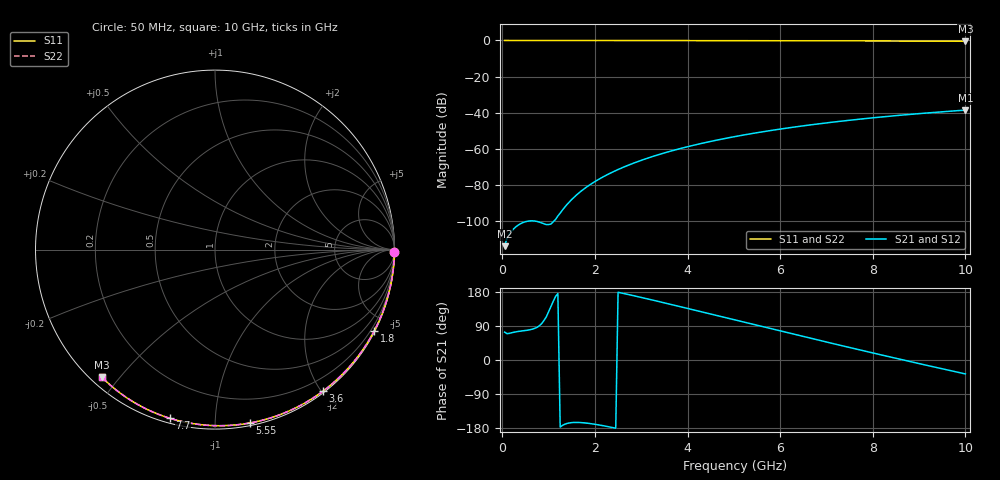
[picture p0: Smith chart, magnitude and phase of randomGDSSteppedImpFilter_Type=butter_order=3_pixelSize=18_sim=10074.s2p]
! freq	dB(S11)	phase(S11)	dB(S12)	phase(S12)
!  dB(S21)	phase(S21)	dB(S22)	phase(S22)
!S-par simulation data
#  GHz  S  DB  R 50
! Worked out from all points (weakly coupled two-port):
!   200 points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, 50 MHz to 10 GHz, reference 50 ohm
!   highest |S21| = -38.55 dB at 10 GHz (marker M1); lowest = -113.8 dB at 50 MHz (marker M2)
!   lowest |S11| = -0.4 dB at 10 GHz (marker M3), VSWR 39.09, Z = 1.54 - j22.5 ohm
!   |S11| at or under -10 dB: nowhere
!   |S22| runs from -0.4 to 0.0 dB; largest |S21 - S12| = 0
!   S11 on the Smith chart (normalised r, x): 50 MHz: open; 1.8 GHz: 0.04, -4.18; 3.6 GHz: 0.02, -2.02; 5.55 GHz: 0.02, -1.22; 7.7 GHz: 0.02, -0.77; 10 GHz: 0.03, -0.45
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0.05  -0.00 -0.8  -113.84 73.7  -113.84 73.7  -0.00 -0.8
0.9  -0.02 -13.6  -101.50 104.2  -101.50 104.2  -0.02 -13.6
1.75  -0.03 -26.2  -82.43 -165.6  -82.43 -165.6  -0.03 -26.2
1.8  -0.03 -26.9  -81.49 -166.2  -81.49 -166.2  -0.03 -26.9
1.85  -0.04 -27.7  -80.59 -167.0  -80.59 -167.0  -0.04 -27.7
1.9  -0.04 -28.4  -79.72 -167.8  -79.72 -167.8  -0.04 -28.4
2.05  -0.04 -30.6  -77.32 -170.6  -77.32 -170.6  -0.04 -30.6
2.25  -0.04 -33.5  -74.50 -175.0  -74.50 -175.0  -0.04 -33.5
2.45  -0.05 -36.4  -72.00 -180.0  -72.00 -180.0  -0.05 -36.4
2.65  -0.05 -39.3  -69.77 174.8  -69.77 174.8  -0.05 -39.3
3  -0.06 -44.2  -66.35 165.1  -66.35 165.1  -0.06 -44.2
3.4  -0.07 -49.9  -63.00 153.7  -63.00 153.7  -0.07 -49.9
3.6  -0.07 -52.7  -61.50 147.9  -61.50 147.9  -0.07 -52.7
4.3  -0.09 -62.2  -56.99 127.2  -56.99 127.2  -0.09 -62.2
5.05  -0.11 -72.2  -53.07 104.9  -53.07 104.9  -0.11 -72.2
5.55  -0.13 -78.7  -50.84 90.0  -50.84 90.0  -0.13 -78.7
6.1  -0.15 -85.6  -48.67 73.7  -48.67 73.7  -0.15 -85.6
6.7  -0.18 -93.0  -46.57 56.1  -46.57 56.1  -0.18 -93.0
7.7  -0.24 -105.0  -43.60 27.2  -43.60 27.2  -0.24 -105.0
8.35  -0.29 -112.6  -41.95 8.7  -41.95 8.7  -0.29 -112.6
9.15  -0.36 -121.8  -40.18 -13.6  -40.18 -13.6  -0.36 -121.8
10  -0.44 -131.5  -38.55 -36.8  -38.55 -36.8  -0.44 -131.5
